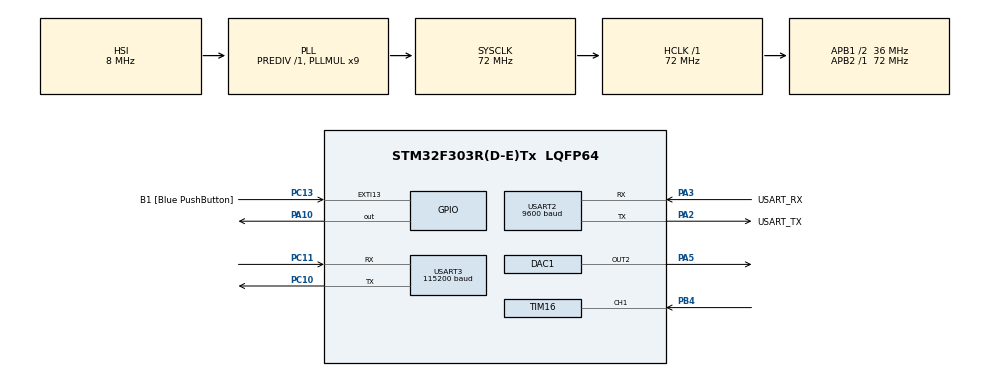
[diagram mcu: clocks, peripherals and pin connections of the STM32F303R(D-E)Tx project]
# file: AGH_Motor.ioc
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Mcu.Family=STM32F3
Mcu.Name=STM32F303R(D-E)Tx
Mcu.Package=LQFP64
NVIC.PriorityGroup=NVIC_PRIORITYGROUP_0
NVIC.TIM1_TRG_COM_TIM17_IRQn=true\:0\:0\:false\:false\:true\:true\:true\:true
NVIC.TIM1_UP_TIM16_IRQn=true\:0\:0\:false\:false\:true\:true\:true\:true
NVIC.USART2_IRQn=true\:0\:0\:false\:false\:true\:true\:true\:true
NVIC.USART3_IRQn=true\:0\:0\:false\:false\:true\:true\:true\:true
PA10.Signal=GPIO_Output
PA13.GPIO_Label=TMS
PA13.Mode=Serial_Wire
PA13.Signal=SYS_JTMS-SWDIO
PA14.GPIO_Label=TCK
PA14.Mode=Serial_Wire
PA14.Signal=SYS_JTCK-SWCLK
PA2.GPIO_Label=USART_TX
PA2.GPIO_Mode=GPIO_MODE_AF_PP
PA2.GPIO_PuPd=GPIO_NOPULL
PA2.GPIO_Speed=GPIO_SPEED_FREQ_LOW
PA2.Mode=Asynchronous
PA2.Signal=USART2_TX
PA3.GPIO_Label=USART_RX
PA3.GPIO_Mode=GPIO_MODE_AF_PP
PA3.GPIO_PuPd=GPIO_NOPULL
PA3.GPIO_Speed=GPIO_SPEED_FREQ_LOW
PA3.Mode=Asynchronous
PA3.Signal=USART2_RX
PA5.Signal=COMP_DAC12_group
PB3.GPIO_Label=SWO
PB3.Signal=SYS_JTDO-TRACESWO
PB4.Signal=S_TIM16_CH1
PC10.Mode=Asynchronous
PC10.Signal=USART3_TX
PC11.Mode=Asynchronous
PC11.Signal=USART3_RX
PC13.GPIO_Label=B1 [Blue PushButton]
PC13.GPIO_ModeDefaultEXTI=GPIO_MODE_IT_FALLING
PC13.Signal=GPXTI13
PC14-OSC32_IN.Mode=LSE-External-Oscillator
PC14-OSC32_IN.Signal=RCC_OSC32_IN
PC15-OSC32_OUT.Mode=LSE-External-Oscillator
PC15-OSC32_OUT.Signal=RCC_OSC32_OUT
PF0-OSC_IN.Mode=HSE-External-Clock-Source
PF0-OSC_IN.Signal=RCC_OSC_IN
PF1-OSC_OUT.Signal=RCC_OSC_OUT
ProjectManager.HeapSize=0x200
ProjectManager.StackSize=0x400
ProjectManager.TargetToolchain=STM32CubeIDE
RCC.AHBFreq_Value=72000000
RCC.APB1CLKDivider=RCC_HCLK_DIV2
RCC.APB1Freq_Value=36000000
RCC.APB1TimFreq_Value=72000000
RCC.APB2Freq_Value=72000000
RCC.APB2TimFreq_Value=72000000
RCC.CortexFreq_Value=72000000
RCC.HCLKFreq_Value=72000000
RCC.HSE_VALUE=8000000
RCC.HSI_VALUE=8000000
RCC.PLLM=8
RCC.PLLMUL=RCC_PLL_MUL9
RCC.PLLN=336
RCC.PLLP=RCC_PLLP_DIV4
RCC.PLLQ=7
RCC.RCC_PLLsource_Clock_Source_FROM_HSE=RCC_HSE_PREDIV_DIV2
RCC.SYSCLKFreq_VALUE=72000000
RCC.SYSCLKSourceVirtual=RCC_SYSCLKSOURCE_PLLCLK
RCC.USBFreq_Value=72000000
SH.COMP_DAC12_group.0=DAC1_OUT2,Enable_DAC_OUT2
SH.S_TIM16_CH1.0=TIM16_CH1,Input_Capture1_from_TI1
TIM1.Period=1000 - 1
TIM1.Prescaler=72-1
TIM16.Channel=TIM_CHANNEL_1
TIM16.Period=65535
TIM16.Prescaler=72 - 1
TIM17.Period=10000 - 1
TIM17.Prescaler=7200 - 1
USART2.BaudRate=9600
USART2.VirtualMode-Asynchronous=VM_ASYNC
USART3.BaudRate=115200
USART3.VirtualMode-Asynchronous=VM_ASYNC
VP_TIM16_VS_ClockSourceINT.Mode=Enable_Timer
VP_TIM17_VS_ClockSourceINT.Mode=Enable_Timer
VP_TIM1_VS_ClockSourceINT.Mode=Internal
board=NUCLEO-F303RE

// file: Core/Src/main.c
/* USER CODE BEGIN Header */
/**
  ******************************************************************************
  * @file           : main.c
  * @brief          : Main program body
  ******************************************************************************
  * @attention
  *
  * Copyright (c) 2023 STMicroelectronics.
  * All rights reserved.
  *
  * This software is licensed under terms that can be found in the LICENSE file
  * in the root directory of this software component.
  * If no LICENSE file comes with this software, it is provided AS-IS.
  *
  ******************************************************************************
  */
/* USER CODE END Header */
#include "main.h"
#include "dac.h"
#include "tim.h"
#include "usart.h"
#include "gpio.h"

/* USER CODE BEGIN Includes */

#include <stdbool.h>
#include <string.h>
#include <stdlib.h>

/* USER CODE END Includes */

/* USER CODE BEGIN PTD */

typedef enum BLDC_Directions_Tag
{
	BLDC_Direction_Left = 0,
	BLDC_Direction_Right,
	BLDC_Direction_No
} BLDC_Directions_T;

/* USER CODE END PTD */

/* USER CODE BEGIN PD */

#define UART_MAX_BUFFER_LENGTH	(50U)

#define UART_COMMAND_BLDC_DIRECTION_LEFT	("BLDC_DIRECTION_LEFT")
#define UART_COMMAND_BLDC_DIRECTION_RIGHT	("BLDC_DIRECTION_RIGHT")
#define UART_COMMAND_BLDC_DAC_VAL			("BLDC_DAC_VAL_")

/* USER CODE END PD */

/* USER CODE BEGIN PV */

uint8_t toggle_counter = 0U;

uint32_t IC_Val1 = 0U;
uint32_t IC_Val2 = 0U;
uint32_t Difference = 0U;
int Is_First_Captured = 0;

/* Measure Frequency */
float frequency = 0;

volatile uint32_t Rising_Edges_Counter = 0U;

uint8_t Uart_Rx_Char = 0U;
uint8_t Uart_Rx_Buffer[UART_MAX_BUFFER_LENGTH];
uint8_t Uart_Rx_Buffer_Counter = 0U;
uint8_t Uart_Tx_Buffer[UART_MAX_BUFFER_LENGTH];
uint8_t Uart_Tx_Buffer_Counter = 0U;

/* USER CODE END PV */

void SystemClock_Config(void);
/* USER CODE BEGIN PFP */

static void Set_BLDC_Direction(BLDC_Directions_T bldc_direction);
static void Set_DAC_Value(int voltage);
static void Uart_Parse_Command(void);
static bool Uart_StartsWith(const uint8_t* str1, const uint8_t* str2, size_t size);

/* USER CODE END PFP */

/* USER CODE BEGIN 0 */

static void Set_BLDC_Direction(BLDC_Directions_T bldc_direction)
{
	if (bldc_direction < BLDC_Direction_No)
	{
		if (bldc_direction == BLDC_Direction_Left)
		{
			HAL_GPIO_WritePin(GPIOA, GPIO_PIN_10, GPIO_PIN_SET);
		}
		else
		{
			HAL_GPIO_WritePin(GPIOA, GPIO_PIN_10, GPIO_PIN_RESET);
		}
	}
}

static void Set_DAC_Value(int voltage)
{
	HAL_DAC_SetValue(&hdac1, DAC_CHANNEL_2, DAC_ALIGN_12B_R, voltage);
}

static void Uart_Parse_Command(void)
{
	if (true == Uart_StartsWith(Uart_Rx_Buffer, (uint8_t*)UART_COMMAND_BLDC_DIRECTION_LEFT, 19U))
	{
		Set_BLDC_Direction(BLDC_Direction_Left);

		memcpy(Uart_Tx_Buffer, (uint8_t*)"DIRECTION_CHANGED\n", 18U);
		HAL_UART_Transmit_IT(&huart2, Uart_Tx_Buffer, 18U);
	}
	else if (true == Uart_StartsWith(Uart_Rx_Buffer, (uint8_t*)UART_COMMAND_BLDC_DIRECTION_RIGHT, 20U))
	{
		Set_BLDC_Direction(BLDC_Direction_Right);
		memcpy(Uart_Tx_Buffer, (uint8_t*)"DIRECTION_CHANGED\n", 18U);
		HAL_UART_Transmit_IT(&huart2, Uart_Tx_Buffer, 18U);
	}
	else if (true == Uart_StartsWith(Uart_Rx_Buffer, (uint8_t*)UART_COMMAND_BLDC_DAC_VAL, 13U))
	{
		int voltage = 0U;
		voltage = atoi((char*)&Uart_Rx_Buffer[13U]);
		Set_DAC_Value(voltage);

		memcpy(Uart_Tx_Buffer, (uint8_t*)"DAC_VALUE_CHANGED\n", 18U);
		HAL_UART_Transmit_IT(&huart2, Uart_Tx_Buffer, 18U);
	}
	else
	{
		memcpy(Uart_Tx_Buffer, (uint8_t*)"UNRECOGNISED_COMMAND\n", 21U);
		HAL_UART_Transmit_IT(&huart2, Uart_Tx_Buffer, 21U);
	}

	memset(Uart_Rx_Buffer, 0, sizeof(Uart_Rx_Buffer));
	Uart_Rx_Buffer_Counter = 0U;
}

static bool Uart_StartsWith(const uint8_t* str1, const uint8_t* str2, size_t size)
{
	return strncmp((const char*) str1, (const char*) str2, size) == 0;
}

/* USER CODE END 0 */

int main(void)
{

  /* MCU Configuration--------------------------------------------------------*/

  /* Reset of all peripherals, Initializes the Flash interface and the Systick. */
  HAL_Init();

  /* Configure the system clock */
  SystemClock_Config();

  /* Initialize all configured peripherals */
  MX_GPIO_Init();
  MX_TIM1_Init();
  MX_TIM16_Init();
  MX_TIM17_Init();
  MX_USART3_UART_Init();
  MX_USART2_UART_Init();
  MX_DAC1_Init();
  /* USER CODE BEGIN 2 */

  //TIM1->CCR1 = 50;
  //HAL_TIM_PWM_Start(&htim1, TIM_CHANNEL_1);
  HAL_TIM_IC_Start_IT(&htim16, TIM_CHANNEL_1);
  HAL_TIM_Base_Start_IT(&htim17);

  HAL_DAC_Start(&hdac1, DAC_CHANNEL_2);
  HAL_DAC_SetValue(&hdac1, DAC_CHANNEL_2, DAC_ALIGN_12B_R, 2048);

  HAL_UART_Receive_IT(&huart2, &Uart_Rx_Char, 1U);

  /* USER CODE END 2 */

  /* Infinite loop */
  while (1)
  {

  }
}

void SystemClock_Config(void)
{
  RCC_OscInitTypeDef RCC_OscInitStruct = {0};
  RCC_ClkInitTypeDef RCC_ClkInitStruct = {0};
  RCC_PeriphCLKInitTypeDef PeriphClkInit = {0};

  /** Initializes the RCC Oscillators according to the specified parameters
  * in the RCC_OscInitTypeDef structure.
  */
  RCC_OscInitStruct.OscillatorType = RCC_OSCILLATORTYPE_HSI;
  RCC_OscInitStruct.HSIState = RCC_HSI_ON;
  RCC_OscInitStruct.HSICalibrationValue = RCC_HSICALIBRATION_DEFAULT;
  RCC_OscInitStruct.PLL.PLLState = RCC_PLL_ON;
  RCC_OscInitStruct.PLL.PLLSource = RCC_PLLSOURCE_HSI;
  RCC_OscInitStruct.PLL.PLLMUL = RCC_PLL_MUL9;
  RCC_OscInitStruct.PLL.PREDIV = RCC_PREDIV_DIV1;
  if (HAL_RCC_OscConfig(&RCC_OscInitStruct) != HAL_OK)
  {
    Error_Handler();
  }

  /** Initializes the CPU, AHB and APB buses clocks
  */
  RCC_ClkInitStruct.ClockType = RCC_CLOCKTYPE_HCLK|RCC_CLOCKTYPE_SYSCLK
                              |RCC_CLOCKTYPE_PCLK1|RCC_CLOCKTYPE_PCLK2;
  RCC_ClkInitStruct.SYSCLKSource = RCC_SYSCLKSOURCE_PLLCLK;
  RCC_ClkInitStruct.AHBCLKDivider = RCC_SYSCLK_DIV1;
  RCC_ClkInitStruct.APB1CLKDivider = RCC_HCLK_DIV2;
  RCC_ClkInitStruct.APB2CLKDivider = RCC_HCLK_DIV1;

  if (HAL_RCC_ClockConfig(&RCC_ClkInitStruct, FLASH_LATENCY_2) != HAL_OK)
  {
    Error_Handler();
  }
  PeriphClkInit.PeriphClockSelection = RCC_PERIPHCLK_USART2|RCC_PERIPHCLK_USART3
                              |RCC_PERIPHCLK_TIM1|RCC_PERIPHCLK_TIM16
                              |RCC_PERIPHCLK_TIM17;
  PeriphClkInit.Usart2ClockSelection = RCC_USART2CLKSOURCE_PCLK1;
  PeriphClkInit.Usart3ClockSelection = RCC_USART3CLKSOURCE_PCLK1;
  PeriphClkInit.Tim1ClockSelection = RCC_TIM1CLK_HCLK;
  PeriphClkInit.Tim16ClockSelection = RCC_TIM16CLK_HCLK;
  PeriphClkInit.Tim17ClockSelection = RCC_TIM17CLK_HCLK;
  if (HAL_RCCEx_PeriphCLKConfig(&PeriphClkInit) != HAL_OK)
  {
    Error_Handler();
  }
}

/* USER CODE BEGIN 4 */

void HAL_TIM_IC_CaptureCallback(TIM_HandleTypeDef *htim)
{
	if (htim->Instance == TIM16)
	{
		Rising_Edges_Counter++;
	}
}

void HAL_TIM_PeriodElapsedCallback(TIM_HandleTypeDef *htim)
{

	if (htim->Instance == TIM17)
	{
		uint8_t local_counter = 0U;
		itoa(Rising_Edges_Counter, (char*)Uart_Tx_Buffer, 10);

		if (Rising_Edges_Counter != 0)
		{
			while(Rising_Edges_Counter > 0)
			{
				local_counter++;
				Rising_Edges_Counter /= 10;
			}
		}
		else
		{
			Uart_Tx_Buffer[local_counter] = '0';
			local_counter++;
		}
		Uart_Tx_Buffer[local_counter] = '\n';
		local_counter++;
		HAL_UART_Transmit_IT(&huart2, Uart_Tx_Buffer, local_counter);
		Rising_Edges_Counter = 0;
	}
}

void HAL_UART_RxCpltCallback(UART_HandleTypeDef *huart)
{
	if (huart->Instance == USART2)
	{
		if (Uart_Rx_Buffer_Counter < UART_MAX_BUFFER_LENGTH)
		{
			Uart_Rx_Buffer[Uart_Rx_Buffer_Counter] = Uart_Rx_Char;
			Uart_Rx_Buffer_Counter++;

			if ((Uart_Rx_Char == '\n') || (Uart_Rx_Char == '\r'))
			{
				Uart_Parse_Command();
			}
		}
		else
		{
			Uart_Rx_Buffer_Counter = 0;
		}

		HAL_UART_Receive_IT(&huart2, &Uart_Rx_Char, 1U);
	}
}

/* USER CODE END 4 */

void Error_Handler(void)
{
  __disable_irq();
  while (1)
  {
  }
}
